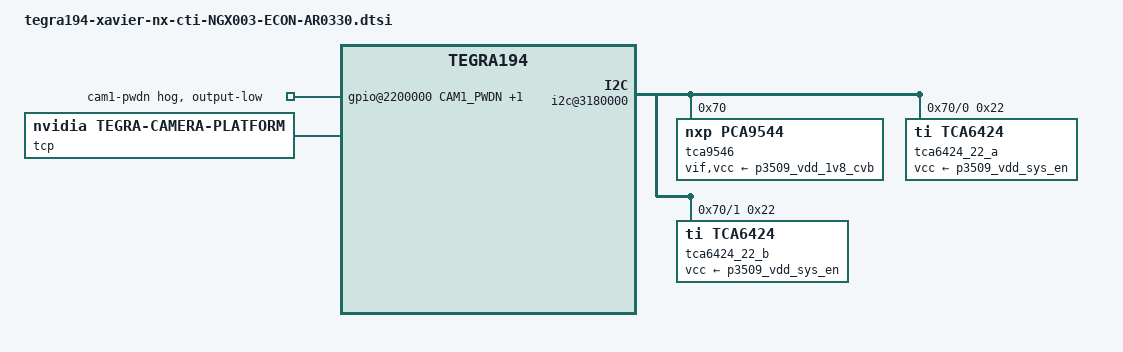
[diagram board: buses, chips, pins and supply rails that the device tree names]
#include "tegra194-cti-camera-econ-ar0330-mipi-2cam-header.dtsi"
#include "tegra194-cti-econ-ar0330-mipi-modes-header.dtsi"
#include "tegra194-cti-camera-2cam-base.dtsi"

#define CAM1_PWDN	TEGRA194_MAIN_GPIO(P, 4)
#define CAM2_PWDN	TEGRA194_MAIN_GPIO(P, 5)
#define CAMERA_I2C_MUX_BUS(x) (0x1E + x)

/ {
	gpio@2200000 {
		camera-control-output-low {
			gpio-hog;
			output-low;
			gpios = <CAM1_PWDN 0 CAM2_PWDN 0>;
			label = "cam1-pwdn","cam2-pwdn";
		};
	};
	
	i2c@3180000 {
		tca9546@70 {
			compatible = "nxp,pca9544";
			reg = <0x70>;
			#address-cells = <1>;
			#size-cells = <0>;			
			//skip_mux_detect = "yes";
			vif-supply = <&p3509_vdd_1v8_cvb>;
			vcc-supply = <&p3509_vdd_1v8_cvb>;
			vcc_lp = "vcc";			
			
			i2c@0 {
				reg = <0>;
				i2c-mux,deselect-on-exit;
				tca6424_22_a: tca6424@22 {
					compatible = "ti,tca6424";
					gpio-controller;
					#gpio-cells = <2>;
					reg = <0x22>;
					vcc-supply = <&p3509_vdd_sys_en>;
					status = "okay";
					tca6424_22_outlow {
						/*
						 * GPIO-0 : RST_CAM1
						 * GPIO-1 : RST_CAM2
						 * GPIO-2 : RST_CAM3
						 * .... more is there
						 */
						gpio-hog;
						gpios = <0 0 1 0 2 0 3 0 4 0 5 0 6 0 7 0>;
						output-low;
						label = "tca6424_22_outlow_0",
								 "tca6424_22_outlow_1",
								 "tca6424_22_outlow_2",
								 "tca6424_22_outlow_3",
								 "tca6424_22_outlow_4",
								 "tca6424_22_outlow_5",
								 "tca6424_22_outlow_6",
								 "tca6424_22_outlow_7";
					};
					tca6424_22_outhigh {
						status = "disabled";
					};
					tca6424_22_input {
						status = "disabled";
					};
				};
				I2C0_NODE {
					/*clocks = <&bpmp_clks TEGRA194_CLK_EXTPERIPH1>,
							 <&bpmp_clks TEGRA194_CLK_PLLP_OUT0>;
					clock-names = "extperiph1", "pllp_grtba";
					mclk = "extperiph1";*/
					reset-gpios = <&tca6424_22_a 0 GPIO_ACTIVE_HIGH>;
					pwdn-gpios  = <&tca6424_22_a 6 GPIO_ACTIVE_HIGH>;
					CAM_DATA
					
					/delete-node/ mode5;
				};
			};
			
			i2c@1 {
				reg = <1>;
				i2c-mux,deselect-on-exit;
				tca6424_22_b: tca6424@22 {
					compatible = "ti,tca6424";
					gpio-controller;
					#gpio-cells = <2>;
					reg = <0x22>;
					vcc-supply = <&p3509_vdd_sys_en>;
					status = "okay";
					tca6424_22_outlow {
						/*
						 * GPIO-0 : RST_CAM1
						 * GPIO-1 : RST_CAM2
						 * GPIO-2 : RST_CAM3
						 * .... more is there
						 */
						gpio-hog;
						gpios = <0 0 1 0 2 0 3 0 4 0 5 0 6 0 7 0>;
						output-low;
						label = "tca6424_22_outlow_0",
								 "tca6424_22_outlow_1",
								 "tca6424_22_outlow_2",
								 "tca6424_22_outlow_3",
								 "tca6424_22_outlow_4",
								 "tca6424_22_outlow_5",
								 "tca6424_22_outlow_6",
								 "tca6424_22_outlow_7";
					};
					tca6424_22_outhigh {
						status = "disabled";
					};
					tca6424_22_input {
						status = "disabled";
					};
				};
				I2C1_NODE {
					clocks = <&bpmp_clks TEGRA194_CLK_EXTPERIPH1>,
							 <&bpmp_clks TEGRA194_CLK_PLLP_OUT0>;
					clock-names = "extperiph1", "pllp_grtba";
					mclk = "extperiph1";
					reset-gpios = <&tca6424_22_b 0 GPIO_ACTIVE_HIGH>;
					pwdn-gpios = <&tca6424_22_b 6 GPIO_ACTIVE_HIGH>;
					CAM_DATA

					/delete-node/ mode5;
				};
			};
		};
	};
			
	tcp: tegra-camera-platform {
		compatible = "nvidia, tegra-camera-platform";

		TEGRA_CAM_PLAT_DATA
	};
};
